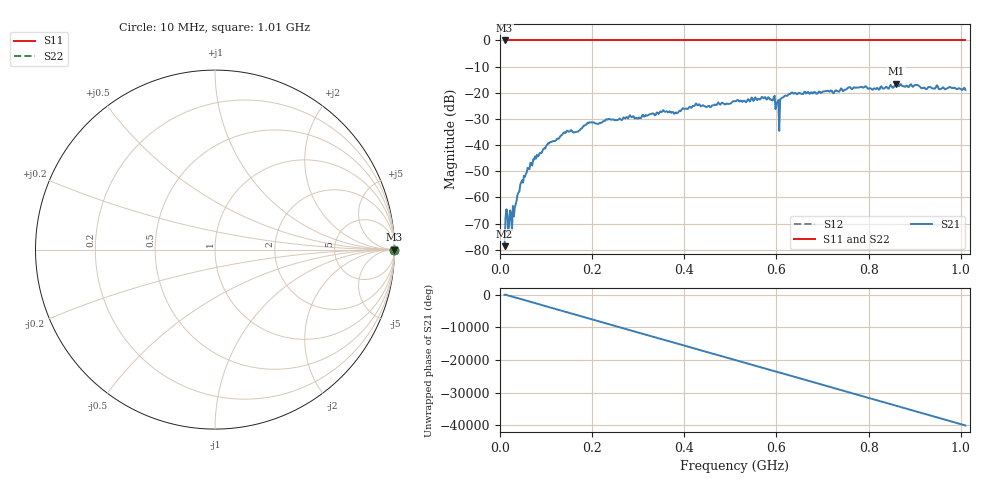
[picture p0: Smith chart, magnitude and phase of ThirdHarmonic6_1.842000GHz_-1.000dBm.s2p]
! 8/16/2025 10:18:00 PM
! C:\ANRITSUVNA\TEMP\TEMP.S2P
! CHANNEL.1
! TR.MEASUREMENT
! RAW.DATA
! RF.CORRECTION.OFF
! AVERAGING.OFF
! IF.BANDWIDTH: 5KHZ
! SWEEPTYPE:  FREQ.SWEEP(Linear)
! Reference Plane Port Info
! PORT:  PORT1  PORT2
! DISTANCE:  0  m  0  m
! TIME:  0  s  0  s
! PHASE.OFFSET:  0  deg.  0  deg.
! LOSS:  0  dB  0  dB
! REF.LOSS:  0  dB  0  dB
! REF.FREQ:  0  Hz  0  Hz
! Power Info
! POWER:  -20  dBm  -20  dBm
! EFF.POWER:  -20  dBm  -20  dBm
! SOURCE.ATTEN:  0  dB  0  dB
! TEST.ATTEN:  0  dB  0  dB
# GHZ S RI R 50.0
! FREQ.GHZ  S11RE  S11IM  S21RE  S21IM  S12RE  S12IM  S22RE  S22IM
!; PortSelection: Port_12
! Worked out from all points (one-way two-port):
!   501 points, 10 MHz to 1.01 GHz, reference 50 ohm
!   highest |S21| = -16.49 dB at 860 MHz (marker M1); lowest = -78.7 dB at 10 MHz (marker M2)
!   lowest |S11| = 0.0 dB at 10 MHz (marker M3)
!   |S11| at or under -10 dB: nowhere
!   |S22| runs from 0.0 to 0.0 dB; largest |S21 - S12| = 1.1
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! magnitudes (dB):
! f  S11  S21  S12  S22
! 10 MHz  0.0  -78.7  0.0  0.0
! 16 MHz  0.0  -66.4  0.0  0.0
! 22 MHz  0.0  -65.0  0.0  0.0
! 24 MHz  0.0  -66.0  0.0  0.0
! 30 MHz  0.0  -67.3  0.0  0.0
! 48 MHz  0.0  -53.4  0.0  0.0
! 76 MHz  0.0  -44.4  0.0  0.0
! 142 MHz  0.0  -35.4  0.0  0.0
! 178 MHz  0.0  -33.6  0.0  0.0
! 194 MHz  0.0  -31.3  0.0  0.0
! 344 MHz  0.0  -28.2  0.0  0.0
! 510 MHz  0.0  -23.3  0.0  0.0
! 592 MHz  0.0  -22.9  0.0  0.0
! 600 MHz  0.0  -24.1  0.0  0.0
! 602 MHz  0.0  -23.5  0.0  0.0
! 610 MHz  0.0  -22.2  0.0  0.0
! 612 MHz  0.0  -21.9  0.0  0.0
! 630 MHz  0.0  -20.5  0.0  0.0
! 678 MHz  0.0  -20.2  0.0  0.0
! 844 MHz  0.0  -18.4  0.0  0.0
! 860 MHz  0.0  -16.5  0.0  0.0
! 1.01 GHz  0.0  -18.9  0.0  0.0
